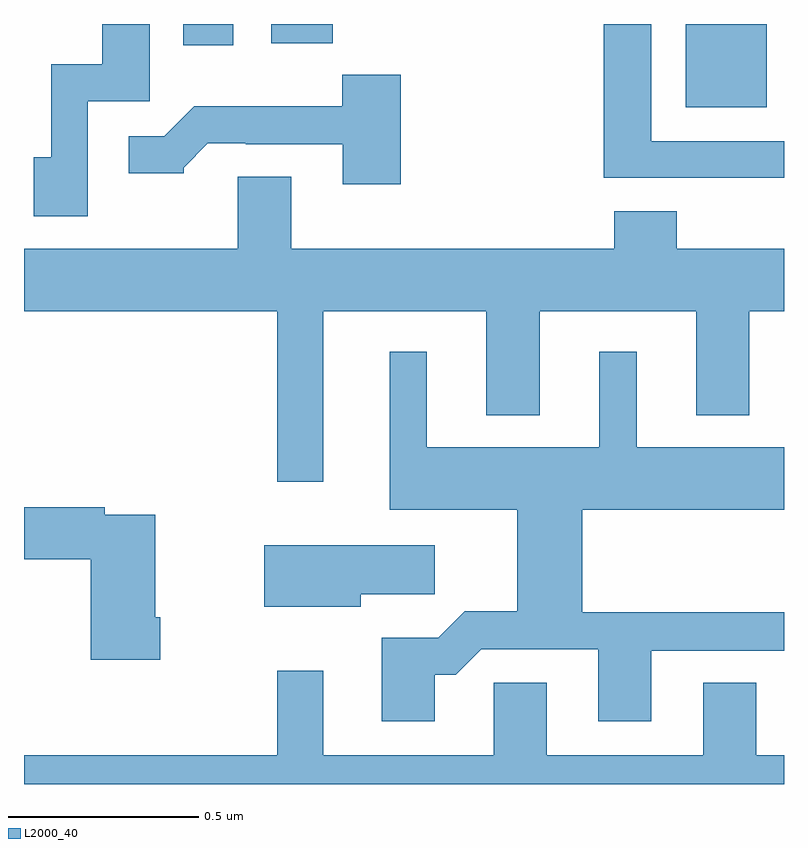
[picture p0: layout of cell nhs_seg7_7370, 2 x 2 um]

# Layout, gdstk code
import gdstk
lib = gdstk.Library(unit=1e-6, precision=1e-09)
def R(c, l, rs):  # rectangles x0, y0, x1, y1
    for r in rs: c.add(gdstk.rectangle(r[:2], r[2:], *l))
def P(c, l, *ps):  # polygons
    for p in ps: c.add(gdstk.Polygon(p, *l))
L2000_40 = (2000, 40)

nhs_seg7_7370 = lib.new_cell('nhs_seg7_7370')
R(nhs_seg7_7370, L2000_40, [(211.742,1039.781,211.954,1040), (210.419,1039.944,210.55,1040), (210.65,1039.949,210.812,1040)])
P(nhs_seg7_7370, L2000_40, [(210.168,1039.797),(210.331,1039.797),(210.331,1040),(210.206,1040),(210.206,1039.894),(210.072,1039.894),(210.072,1039.65),(210.025,1039.65),(210.025,1039.494),(210.168,1039.494)],
  [(212,1039.692),(211.651,1039.692),(211.651,1040),(211.526,1040),(211.526,1039.595),(212,1039.595)],
  [(210.992,1039.867),(210.837,1039.867),(210.837,1039.783),(210.448,1039.783),(210.369,1039.704),(210.276,1039.704),(210.276,1039.607),(210.42,1039.607),(210.42,1039.622),(210.484,1039.686),(210.583,1039.686),(210.583,1039.683),(210.839,1039.683),(210.839,1039.578),(210.992,1039.578)],
  [(210.787,1039.244),(211.217,1039.244),(211.217,1038.971),(211.357,1038.971),(211.357,1039.244),(211.769,1039.244),(211.769,1038.971),(211.909,1038.971),(211.909,1039.244),(212,1039.244),(212,1039.408),(211.718,1039.408),(211.718,1039.507),(211.553,1039.507),(211.553,1039.408),(210.703,1039.408),(210.703,1039.598),(210.563,1039.598),(210.563,1039.408),(210,1039.408),(210,1039.244),(210.666,1039.244),(210.666,1038.795),(210.787,1038.795)],
  [(211.081,1038.287),(211.136,1038.287),(211.203,1038.354),(211.511,1038.354),(211.511,1038.165),(211.651,1038.165),(211.651,1038.351),(212,1038.351),(212,1038.452),(211.469,1038.452),(211.469,1038.722),(212,1038.722),(212,1038.886),(211.612,1038.886),(211.612,1039.138),(211.514,1039.138),(211.514,1038.886),(211.06,1038.886),(211.06,1039.138),(210.962,1039.138),(210.962,1038.722),(211.298,1038.722),(211.298,1038.455),(211.16,1038.455),(211.09,1038.385),(210.941,1038.385),(210.941,1038.165),(211.081,1038.165)],
  [(210.359,1038.439),(210.346,1038.439),(210.346,1038.708),(210.212,1038.708),(210.212,1038.728),(210,1038.728),(210,1038.592),(210.176,1038.592),(210.176,1038.327),(210.359,1038.327)],
  [(210.886,1038.499),(211.081,1038.499),(211.081,1038.628),(210.632,1038.628),(210.632,1038.467),(210.886,1038.467)],
  [(212,1038.076),(211.927,1038.076),(211.927,1038.266),(211.787,1038.266),(211.787,1038.076),(211.375,1038.076),(211.375,1038.266),(211.236,1038.266),(211.236,1038.076),(210.787,1038.076),(210.787,1038.298),(210.666,1038.298),(210.666,1038.076),(210,1038.076),(210,1038),(212,1038)])

lib.write_gds('nhs_seg7_7370.gds')
